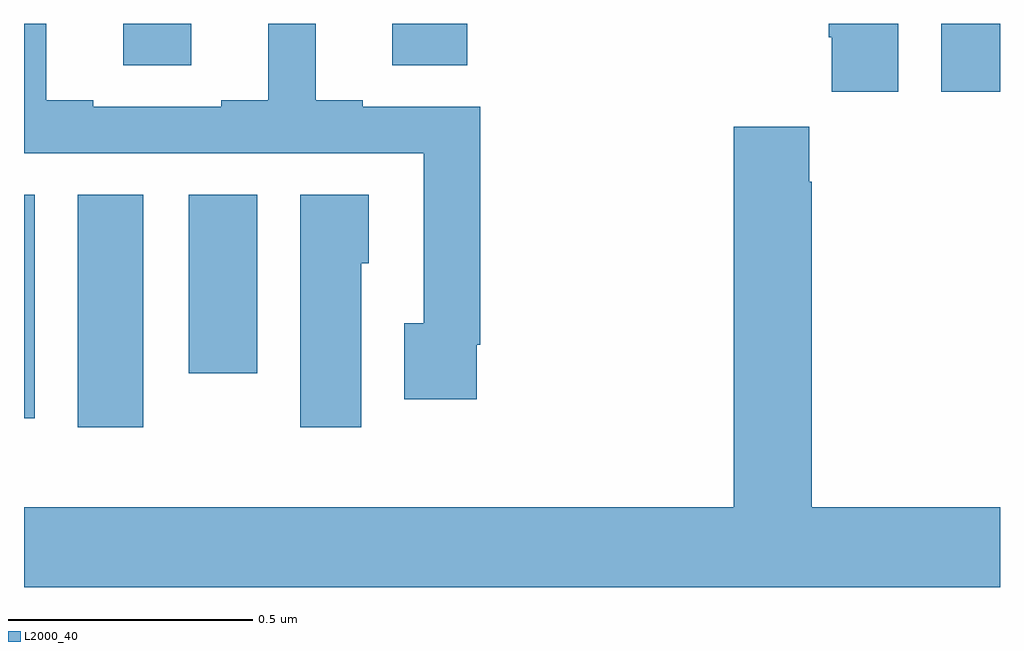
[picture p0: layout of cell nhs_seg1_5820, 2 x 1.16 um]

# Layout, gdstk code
import gdstk
lib = gdstk.Library(unit=1e-6, precision=1e-09)
def R(c, l, rs):  # rectangles x0, y0, x1, y1
    for r in rs: c.add(gdstk.rectangle(r[:2], r[2:], *l))
def P(c, l, *ps):  # polygons
    for p in ps: c.add(gdstk.Polygon(p, *l))
L2000_40 = (2000, 40)

nhs_seg1_5820 = lib.new_cell('nhs_seg1_5820')
R(nhs_seg1_5820, L2000_40, [(183.11,573.372,183.244,573.848), (183,573.39,183.022,573.848), (183.338,573.483,183.478,573.848), (184.88,574.059,185,574.199), (183.203,574.114,183.343,574.199), (183.755,574.114,183.908,574.199)])
P(nhs_seg1_5820, L2000_40, [(184.792,574.199),(184.649,574.199),(184.649,574.171),(184.655,574.171),(184.655,574.059),(184.792,574.059)],
  [(183.928,573.541),(183.935,573.541),(183.935,574.029),(183.694,574.029),(183.694,574.042),(183.598,574.042),(183.598,574.199),(183.5,574.199),(183.5,574.042),(183.404,574.042),(183.404,574.029),(183.142,574.029),(183.142,574.042),(183.046,574.042),(183.046,574.199),(183,574.199),(183,573.933),(183.819,573.933),(183.819,573.585),(183.779,573.585),(183.779,573.429),(183.928,573.429)],
  [(185,573.208),(184.614,573.208),(184.614,573.875),(184.609,573.875),(184.609,573.988),(184.454,573.988),(184.454,573.208),(183,573.208),(183,573.044),(185,573.044)],
  [(183.691,573.708),(183.706,573.708),(183.706,573.848),(183.566,573.848),(183.566,573.372),(183.691,573.372)])

lib.write_gds('nhs_seg1_5820.gds')
